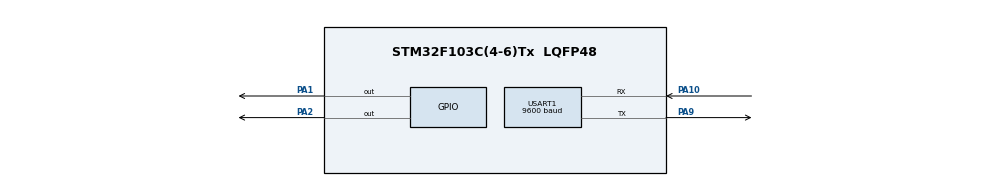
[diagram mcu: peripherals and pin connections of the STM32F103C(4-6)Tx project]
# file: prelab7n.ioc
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Mcu.Family=STM32F1
Mcu.Name=STM32F103C(4-6)Tx
Mcu.Package=LQFP48
NVIC.PriorityGroup=NVIC_PRIORITYGROUP_4
PA1.Signal=GPIO_Output
PA10.Mode=Asynchronous
PA10.Signal=USART1_RX
PA2.Signal=GPIO_Output
PA9.Mode=Asynchronous
PA9.Signal=USART1_TX
ProjectManager.HeapSize=0x200
ProjectManager.StackSize=0x400
ProjectManager.TargetToolchain=MDK-ARM V5.32
RCC.APB1Freq_Value=8000000
RCC.APB2Freq_Value=8000000
USART1.BaudRate=9600
USART1.VirtualMode=VM_ASYNC
VP_SYS_VS_ND.Mode=No_Debug
board=custom

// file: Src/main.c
/* USER CODE BEGIN Header */
/**
  ******************************************************************************
  * @file           : main.c
  * @brief          : Main program body
  ******************************************************************************
  * @attention
  *
  * Copyright (c) 2023 STMicroelectronics.
  * All rights reserved.
  *
  * This software is licensed under terms that can be found in the LICENSE file
  * in the root directory of this software component.
  * If no LICENSE file comes with this software, it is provided AS-IS.
  *
  ******************************************************************************
  */
/* USER CODE END Header */
#include "main.h"

UART_HandleTypeDef huart1;

void SystemClock_Config(void);
static void MX_GPIO_Init(void);
static void MX_USART1_UART_Init(void);

int main(void)
{

  /* MCU Configuration--------------------------------------------------------*/

  /* Reset of all peripherals, Initializes the Flash interface and the Systick. */
  HAL_Init();

  /* Configure the system clock */
  SystemClock_Config();

  /* Initialize all configured peripherals */
  MX_GPIO_Init();
  MX_USART1_UART_Init();

  /* Infinite loop */
  /* USER CODE BEGIN WHILE */
 uint8_t data[1];

  while (1)
  {
		HAL_UART_Transmit(&huart1, data, sizeof(data), HAL_MAX_DELAY);
		if(data[0]=='g'){
			GPIO_PinState PingG = HAL_GPIO_ReadPin(GPIOA, GPIO_PIN_1);
			if(PingG == GPIO_PIN_SET){
			HAL_GPIO_WritePin(GPIOA, GPIO_PIN_1, GPIO_PIN_RESET);
			} else {
				HAL_GPIO_WritePin(GPIOA, GPIO_PIN_1, GPIO_PIN_SET);
			}
			} else if (data[0]=='r'){

				GPIO_PinState PingR = HAL_GPIO_ReadPin(GPIOA, GPIO_PIN_2);
			if(PingR == GPIO_PIN_SET){
			HAL_GPIO_WritePin(GPIOA, GPIO_PIN_2, GPIO_PIN_RESET);
			} else {
				HAL_GPIO_WritePin(GPIOA, GPIO_PIN_2, GPIO_PIN_SET);
			}
			}

		HAL_Delay(500);
		HAL_UART_Receive(&huart1, data, sizeof(data), HAL_MAX_DELAY);
    //data[0] +=1;
    /* USER CODE END WHILE */

  }
}

void SystemClock_Config(void)
{
  RCC_OscInitTypeDef RCC_OscInitStruct = {0};
  RCC_ClkInitTypeDef RCC_ClkInitStruct = {0};

  /** Initializes the RCC Oscillators according to the specified parameters
  * in the RCC_OscInitTypeDef structure.
  */
  RCC_OscInitStruct.OscillatorType = RCC_OSCILLATORTYPE_HSI;
  RCC_OscInitStruct.HSIState = RCC_HSI_ON;
  RCC_OscInitStruct.HSICalibrationValue = RCC_HSICALIBRATION_DEFAULT;
  RCC_OscInitStruct.PLL.PLLState = RCC_PLL_NONE;
  if (HAL_RCC_OscConfig(&RCC_OscInitStruct) != HAL_OK)
  {
    Error_Handler();
  }

  /** Initializes the CPU, AHB and APB buses clocks
  */
  RCC_ClkInitStruct.ClockType = RCC_CLOCKTYPE_HCLK|RCC_CLOCKTYPE_SYSCLK
                              |RCC_CLOCKTYPE_PCLK1|RCC_CLOCKTYPE_PCLK2;
  RCC_ClkInitStruct.SYSCLKSource = RCC_SYSCLKSOURCE_HSI;
  RCC_ClkInitStruct.AHBCLKDivider = RCC_SYSCLK_DIV1;
  RCC_ClkInitStruct.APB1CLKDivider = RCC_HCLK_DIV1;
  RCC_ClkInitStruct.APB2CLKDivider = RCC_HCLK_DIV1;

  if (HAL_RCC_ClockConfig(&RCC_ClkInitStruct, FLASH_LATENCY_0) != HAL_OK)
  {
    Error_Handler();
  }
}

static void MX_USART1_UART_Init(void)
{

  huart1.Instance = USART1;
  huart1.Init.BaudRate = 9600;
  huart1.Init.WordLength = UART_WORDLENGTH_8B;
  huart1.Init.StopBits = UART_STOPBITS_1;
  huart1.Init.Parity = UART_PARITY_NONE;
  huart1.Init.Mode = UART_MODE_TX_RX;
  huart1.Init.HwFlowCtl = UART_HWCONTROL_NONE;
  huart1.Init.OverSampling = UART_OVERSAMPLING_16;
  if (HAL_UART_Init(&huart1) != HAL_OK)
  {
    Error_Handler();
  }

}

static void MX_GPIO_Init(void)
{
  GPIO_InitTypeDef GPIO_InitStruct = {0};

  /* GPIO Ports Clock Enable */
  __HAL_RCC_GPIOA_CLK_ENABLE();

  /*Configure GPIO pin Output Level */
  HAL_GPIO_WritePin(GPIOA, GPIO_PIN_1|GPIO_PIN_2, GPIO_PIN_RESET);

  /*Configure GPIO pins : PA1 PA2 */
  GPIO_InitStruct.Pin = GPIO_PIN_1|GPIO_PIN_2;
  GPIO_InitStruct.Mode = GPIO_MODE_OUTPUT_PP;
  GPIO_InitStruct.Pull = GPIO_NOPULL;
  GPIO_InitStruct.Speed = GPIO_SPEED_FREQ_LOW;
  HAL_GPIO_Init(GPIOA, &GPIO_InitStruct);

}

void Error_Handler(void)
{
  __disable_irq();
  while (1)
  {
  }
}
